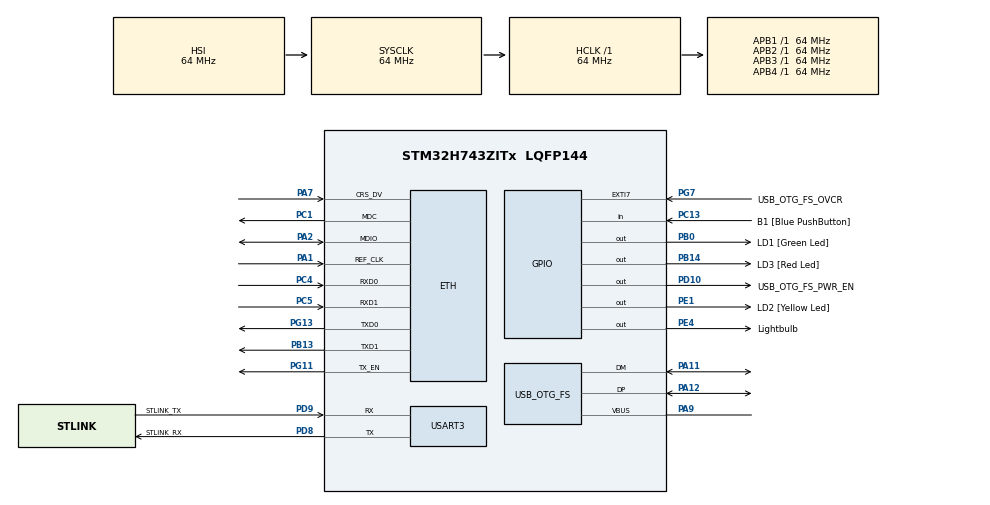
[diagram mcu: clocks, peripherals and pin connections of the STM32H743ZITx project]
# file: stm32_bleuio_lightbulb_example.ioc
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ETH.MediaInterface=HAL_ETH_RMII_MODE
Mcu.Family=STM32H7
Mcu.Name=STM32H743ZITx
Mcu.Package=LQFP144
NVIC.OTG_FS_EP1_IN_IRQn=true\:0\:0\:false\:false\:true\:true\:true
NVIC.OTG_FS_EP1_OUT_IRQn=true\:0\:0\:false\:false\:true\:true\:true
NVIC.OTG_FS_IRQn=true\:0\:0\:false\:false\:true\:true\:true
NVIC.PriorityGroup=NVIC_PRIORITYGROUP_4
NVIC.USART3_IRQn=true\:0\:0\:false\:false\:true\:true\:true
PA1.Mode=RMII
PA1.Signal=ETH_REF_CLK
PA11.Mode=Host_Only
PA11.Signal=USB_OTG_FS_DM
PA12.Mode=Host_Only
PA12.Signal=USB_OTG_FS_DP
PA2.Mode=RMII
PA2.Signal=ETH_MDIO
PA7.Mode=RMII
PA7.Signal=ETH_CRS_DV
PA8.Signal=USB_OTG_FS_SOF
PA9.Mode=Activate_VBUS
PA9.Signal=USB_OTG_FS_VBUS
PB0.GPIO_Label=LD1 [Green Led]
PB0.Signal=GPIO_Output
PB13.Mode=RMII
PB13.Signal=ETH_TXD1
PB14.GPIO_Label=LD3 [Red Led]
PB14.Signal=GPIO_Output
PC1.Mode=RMII
PC1.Signal=ETH_MDC
PC13.GPIO_Label=B1 [Blue PushButton]
PC13.Signal=GPIO_Input
PC14-OSC32_IN\ (OSC32_IN).Mode=LSE-External-Oscillator
PC14-OSC32_IN\ (OSC32_IN).Signal=RCC_OSC32_IN
PC15-OSC32_OUT\ (OSC32_OUT).Mode=LSE-External-Oscillator
PC15-OSC32_OUT\ (OSC32_OUT).Signal=RCC_OSC32_OUT
PC4.Mode=RMII
PC4.Signal=ETH_RXD0
PC5.Mode=RMII
PC5.Signal=ETH_RXD1
PD10.GPIO_Label=USB_OTG_FS_PWR_EN
PD10.Signal=GPIO_Output
PD8.GPIO_Label=STLINK_RX
PD8.Mode=Asynchronous
PD8.Signal=USART3_TX
PD9.GPIO_Label=STLINK_TX
PD9.Mode=Asynchronous
PD9.Signal=USART3_RX
PE1.GPIO_Label=LD2 [Yellow Led]
PE1.Signal=GPIO_Output
PE4.GPIO_Label=Lightbulb
PE4.Signal=GPIO_Output
PG11.Mode=RMII
PG11.Signal=ETH_TX_EN
PG13.Mode=RMII
PG13.Signal=ETH_TXD0
PG7.GPIO_Label=USB_OTG_FS_OVCR
PG7.Signal=GPXTI7
PH0-OSC_IN\ (PH0).Mode=HSE-External-Clock-Source
PH0-OSC_IN\ (PH0).Signal=RCC_OSC_IN
PH1-OSC_OUT\ (PH1).Signal=RCC_OSC_OUT
ProjectManager.HeapSize=0x200
ProjectManager.StackSize=0x400
ProjectManager.TargetToolchain=STM32CubeIDE
RCC.ADCFreq_Value=16125000
RCC.APB1Freq_Value=64000000
RCC.APB2Freq_Value=64000000
RCC.APB3Freq_Value=64000000
RCC.APB4Freq_Value=64000000
RCC.CortexFreq_Value=64000000
RCC.DIVM1=1
RCC.DIVN1=24
RCC.DIVQ1=4
RCC.HCLKFreq_Value=64000000
RCC.HSE_VALUE=8000000
RCC.PLLFRACN=0
RCC.PWR_Regulator_Voltage_Scale=PWR_REGULATOR_VOLTAGE_SCALE2
RCC.SYSCLKFreq_VALUE=64000000
RCC.USBFreq_Value=48000000
USART3.VirtualMode-Asynchronous=VM_ASYNC
USB_HOST.BSP.number=1
USB_HOST.USBH_HandleTypeDef-CDC_FS=hUsbHostFS
USB_HOST.VirtualModeFS=Cdc
USB_HOST0.BSP.STBoard=false
USB_HOST0.BSP.api=Unknown
USB_HOST0.BSP.i2caddr=0
USB_HOST0.BSP.instance=PD10
USB_HOST0.BSP.ip=GPIO
USB_HOST0.BSP.mode=Output
USB_HOST0.BSP.name=Drive_VBUS_FS
USB_HOST0.BSP.solution=PD10
USB_OTG_FS.VirtualMode=Host_Only
USB_OTG_FS.phy_itface=HCD_PHY_EMBEDDED
VP_USB_HOST_VS_USB_HOST_CDC_FS.Mode=CDC_FS
board=NUCLEO-H743ZI2

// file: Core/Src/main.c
/* USER CODE BEGIN Header */
/**
  ******************************************************************************
  * @file           : main.c
  * @brief          : Main program body
  ******************************************************************************
  * @attention
  *
  * <h2><center>&copy; Copyright (c) 2021 STMicroelectronics.
  * All rights reserved.</center></h2>
  *
  * This software component is licensed by ST under BSD 3-Clause license,
  * the "License"; You may not use this file except in compliance with the
  * License. You may obtain a copy of the License at:
  *                        opensource.org/licenses/BSD-3-Clause
  *
  ******************************************************************************
  */
/* USER CODE END Header */
#include "main.h"
#include "string.h"
#include "usb_host.h"

/* USER CODE BEGIN PTD */
typedef enum {
  UART_RX_0 = 48,
  UART_RX_1,
  UART_RX_2,
  UART_RX_NONE = 0xFF,
}UARTCommandTypeDef;
/* USER CODE END PTD */

/* USER CODE BEGIN PD */
#define RXBUFFERSIZE                     1

#define BLEUIO_NOT_READY_MSG	"\r\nBleuIO not ready yet.\r\n"

// Dongle commands
#define DONGLE_CMD_ATI "ATI\r\n"
#define DONGLE_CMD_AT_ADVSTART "AT+ADVSTART\r\n"
#define DONGLE_CMD_AT_ADVSTOP "AT+ADVSTOP\r\n"
#define DONGLE_SEND_LIGHT_ON "AT+SPSSEND=LIGHT ON\r\n"
#define DONGLE_SEND_LIGHT_OFF "AT+SPSSEND=LIGHT OFF\r\n"
/* USER CODE END PD */

#if defined ( __ICCARM__ ) /*!< IAR Compiler */

#pragma location=0x30040000
ETH_DMADescTypeDef  DMARxDscrTab[ETH_RX_DESC_CNT]; /* Ethernet Rx DMA Descriptors */
#pragma location=0x30040060
ETH_DMADescTypeDef  DMATxDscrTab[ETH_TX_DESC_CNT]; /* Ethernet Tx DMA Descriptors */
#pragma location=0x30040200
uint8_t Rx_Buff[ETH_RX_DESC_CNT][ETH_MAX_PACKET_SIZE]; /* Ethernet Receive Buffers */

#elif defined ( __CC_ARM )  /* MDK ARM Compiler */

__attribute__((at(0x30040000))) ETH_DMADescTypeDef  DMARxDscrTab[ETH_RX_DESC_CNT]; /* Ethernet Rx DMA Descriptors */
__attribute__((at(0x30040060))) ETH_DMADescTypeDef  DMATxDscrTab[ETH_TX_DESC_CNT]; /* Ethernet Tx DMA Descriptors */
__attribute__((at(0x30040200))) uint8_t Rx_Buff[ETH_RX_DESC_CNT][ETH_MAX_PACKET_SIZE]; /* Ethernet Receive Buffer */

#elif defined ( __GNUC__ ) /* GNU Compiler */

ETH_DMADescTypeDef DMARxDscrTab[ETH_RX_DESC_CNT] __attribute__((section(".RxDecripSection"))); /* Ethernet Rx DMA Descriptors */
ETH_DMADescTypeDef DMATxDscrTab[ETH_TX_DESC_CNT] __attribute__((section(".TxDecripSection")));   /* Ethernet Tx DMA Descriptors */
uint8_t Rx_Buff[ETH_RX_DESC_CNT][ETH_MAX_PACKET_SIZE] __attribute__((section(".RxArraySection"))); /* Ethernet Receive Buffers */

#endif

ETH_TxPacketConfig TxConfig;

ETH_HandleTypeDef heth;

UART_HandleTypeDef huart3;

/* USER CODE BEGIN PV */
static char uart_tx_buf[250];
int uart_buf_len;
bool isBleuIOReady;
uint8_t dongle_response[244];
static UARTCommandTypeDef uartStatus;
static uint8_t aRxBuffer[RXBUFFERSIZE];
static int RX_value;

bool isAdvertising;
bool isLightBulbOn;
bool isConnected;
/* USER CODE END PV */

void SystemClock_Config(void);
static void MX_GPIO_Init(void);
static void MX_ETH_Init(void);
static void MX_USART3_UART_Init(void);
void MX_USB_HOST_Process(void);

/* USER CODE BEGIN PFP */
void handleUartInput(UARTCommandTypeDef cmd);
void dongle_interpreter(uint8_t * input);
/* USER CODE END PFP */

int main(void)
{

  /* MCU Configuration--------------------------------------------------------*/

  /* Reset of all peripherals, Initializes the Flash interface and the Systick. */
  HAL_Init();

  /* Configure the system clock */
  SystemClock_Config();

  /* Initialize all configured peripherals */
  MX_GPIO_Init();
  MX_ETH_Init();
  MX_USART3_UART_Init();
  MX_USB_HOST_Init();
  /* USER CODE BEGIN 2 */
  isBleuIOReady = false;
  isAdvertising= false;
  isLightBulbOn= false;
  isConnected= false;
  uartStatus = UART_RX_NONE;

  // Starts uart recieve interrupt mode
  HAL_UART_Receive_IT(&huart3, (uint8_t *)aRxBuffer, RXBUFFERSIZE);

  // Turn Light bulb pin low (off)
  HAL_GPIO_WritePin(Lightbulb_GPIO_Port, Lightbulb_Pin, GPIO_PIN_RESET);

  // Turns on all LEDs on start up
  HAL_GPIO_WritePin(GPIOB, GPIO_PIN_0, GPIO_PIN_SET);
  HAL_GPIO_WritePin(GPIOE, GPIO_PIN_1, GPIO_PIN_SET);
  HAL_GPIO_WritePin(GPIOB, GPIO_PIN_14, GPIO_PIN_SET);
  HAL_Delay(1000);

  // Turns off all LEDs except Red
  HAL_GPIO_WritePin(GPIOB, GPIO_PIN_0, GPIO_PIN_RESET);
  HAL_GPIO_WritePin(GPIOE, GPIO_PIN_1, GPIO_PIN_RESET);

  // Sends welcome message to uart
  uart_buf_len = sprintf(uart_tx_buf, "\r\nWelcome to STM32 BleuIO Light Bulb Example!\r\nPress 0 to run the ATI command\r\nPress 1 to manually turn on light bulb\r\nPress 2 to manually turn off light bulb\r\n");
  HAL_UART_Transmit(&huart3, (uint8_t *)uart_tx_buf, uart_buf_len, HAL_MAX_DELAY);

  /* USER CODE END 2 */

  /* Infinite loop */
  while (1)
  {
    MX_USB_HOST_Process();

    /* USER CODE BEGIN 3 */
    // Simple handler for uart input
    handleUartInput(uartStatus);
    // Inteprets the dongle data
    dongle_interpreter(dongle_response);

    // Starts advertising as soon as the Dongle is ready.
    if(!isAdvertising && !isConnected && isBleuIOReady)
    {
    	HAL_Delay(200);
    	writeToDongle((uint8_t*)DONGLE_CMD_AT_ADVSTART);
    	isAdvertising = true;
    }
  }
  /* USER CODE END 3 */
}

void SystemClock_Config(void)
{
  RCC_OscInitTypeDef RCC_OscInitStruct = {0};
  RCC_ClkInitTypeDef RCC_ClkInitStruct = {0};

  /** Supply configuration update enable
  */
  HAL_PWREx_ConfigSupply(PWR_LDO_SUPPLY);
  /** Configure the main internal regulator output voltage
  */
  __HAL_PWR_VOLTAGESCALING_CONFIG(PWR_REGULATOR_VOLTAGE_SCALE2);

  while(!__HAL_PWR_GET_FLAG(PWR_FLAG_VOSRDY)) {}
  /** Initializes the RCC Oscillators according to the specified parameters
  * in the RCC_OscInitTypeDef structure.
  */
  RCC_OscInitStruct.OscillatorType = RCC_OSCILLATORTYPE_HSI|RCC_OSCILLATORTYPE_HSE;
  RCC_OscInitStruct.HSEState = RCC_HSE_BYPASS;
  RCC_OscInitStruct.HSIState = RCC_HSI_DIV1;
  RCC_OscInitStruct.HSICalibrationValue = RCC_HSICALIBRATION_DEFAULT;
  RCC_OscInitStruct.PLL.PLLState = RCC_PLL_ON;
  RCC_OscInitStruct.PLL.PLLSource = RCC_PLLSOURCE_HSE;
  RCC_OscInitStruct.PLL.PLLM = 1;
  RCC_OscInitStruct.PLL.PLLN = 24;
  RCC_OscInitStruct.PLL.PLLP = 2;
  RCC_OscInitStruct.PLL.PLLQ = 4;
  RCC_OscInitStruct.PLL.PLLR = 2;
  RCC_OscInitStruct.PLL.PLLRGE = RCC_PLL1VCIRANGE_3;
  RCC_OscInitStruct.PLL.PLLVCOSEL = RCC_PLL1VCOWIDE;
  RCC_OscInitStruct.PLL.PLLFRACN = 0;
  if (HAL_RCC_OscConfig(&RCC_OscInitStruct) != HAL_OK)
  {
    Error_Handler();
  }
  /** Initializes the CPU, AHB and APB buses clocks
  */
  RCC_ClkInitStruct.ClockType = RCC_CLOCKTYPE_HCLK|RCC_CLOCKTYPE_SYSCLK
                              |RCC_CLOCKTYPE_PCLK1|RCC_CLOCKTYPE_PCLK2
                              |RCC_CLOCKTYPE_D3PCLK1|RCC_CLOCKTYPE_D1PCLK1;
  RCC_ClkInitStruct.SYSCLKSource = RCC_SYSCLKSOURCE_HSI;
  RCC_ClkInitStruct.SYSCLKDivider = RCC_SYSCLK_DIV1;
  RCC_ClkInitStruct.AHBCLKDivider = RCC_HCLK_DIV1;
  RCC_ClkInitStruct.APB3CLKDivider = RCC_APB3_DIV1;
  RCC_ClkInitStruct.APB1CLKDivider = RCC_APB1_DIV1;
  RCC_ClkInitStruct.APB2CLKDivider = RCC_APB2_DIV1;
  RCC_ClkInitStruct.APB4CLKDivider = RCC_APB4_DIV1;

  if (HAL_RCC_ClockConfig(&RCC_ClkInitStruct, FLASH_LATENCY_1) != HAL_OK)
  {
    Error_Handler();
  }
}

static void MX_ETH_Init(void)
{

   static uint8_t MACAddr[6];

  heth.Instance = ETH;
  MACAddr[0] = 0x00;
  MACAddr[1] = 0x80;
  MACAddr[2] = 0xE1;
  MACAddr[3] = 0x00;
  MACAddr[4] = 0x00;
  MACAddr[5] = 0x00;
  heth.Init.MACAddr = &MACAddr[0];
  heth.Init.MediaInterface = HAL_ETH_RMII_MODE;
  heth.Init.TxDesc = DMATxDscrTab;
  heth.Init.RxDesc = DMARxDscrTab;
  heth.Init.RxBuffLen = 1524;

  if (HAL_ETH_Init(&heth) != HAL_OK)
  {
    Error_Handler();
  }

  memset(&TxConfig, 0 , sizeof(ETH_TxPacketConfig));
  TxConfig.Attributes = ETH_TX_PACKETS_FEATURES_CSUM | ETH_TX_PACKETS_FEATURES_CRCPAD;
  TxConfig.ChecksumCtrl = ETH_CHECKSUM_IPHDR_PAYLOAD_INSERT_PHDR_CALC;
  TxConfig.CRCPadCtrl = ETH_CRC_PAD_INSERT;

}

static void MX_USART3_UART_Init(void)
{

  huart3.Instance = USART3;
  huart3.Init.BaudRate = 115200;
  huart3.Init.WordLength = UART_WORDLENGTH_8B;
  huart3.Init.StopBits = UART_STOPBITS_1;
  huart3.Init.Parity = UART_PARITY_NONE;
  huart3.Init.Mode = UART_MODE_TX_RX;
  huart3.Init.HwFlowCtl = UART_HWCONTROL_NONE;
  huart3.Init.OverSampling = UART_OVERSAMPLING_16;
  huart3.Init.OneBitSampling = UART_ONE_BIT_SAMPLE_DISABLE;
  huart3.Init.ClockPrescaler = UART_PRESCALER_DIV1;
  huart3.AdvancedInit.AdvFeatureInit = UART_ADVFEATURE_NO_INIT;
  if (HAL_UART_Init(&huart3) != HAL_OK)
  {
    Error_Handler();
  }
  if (HAL_UARTEx_SetTxFifoThreshold(&huart3, UART_TXFIFO_THRESHOLD_1_8) != HAL_OK)
  {
    Error_Handler();
  }
  if (HAL_UARTEx_SetRxFifoThreshold(&huart3, UART_RXFIFO_THRESHOLD_1_8) != HAL_OK)
  {
    Error_Handler();
  }
  if (HAL_UARTEx_DisableFifoMode(&huart3) != HAL_OK)
  {
    Error_Handler();
  }

}

static void MX_GPIO_Init(void)
{
  GPIO_InitTypeDef GPIO_InitStruct = {0};

  /* GPIO Ports Clock Enable */
  __HAL_RCC_GPIOE_CLK_ENABLE();
  __HAL_RCC_GPIOC_CLK_ENABLE();
  __HAL_RCC_GPIOH_CLK_ENABLE();
  __HAL_RCC_GPIOA_CLK_ENABLE();
  __HAL_RCC_GPIOB_CLK_ENABLE();
  __HAL_RCC_GPIOD_CLK_ENABLE();
  __HAL_RCC_GPIOG_CLK_ENABLE();

  /*Configure GPIO pin Output Level */
  HAL_GPIO_WritePin(GPIOE, Lightbulb_Pin|LD2_Pin, GPIO_PIN_RESET);

  /*Configure GPIO pin Output Level */
  HAL_GPIO_WritePin(GPIOB, LD1_Pin|LD3_Pin, GPIO_PIN_RESET);

  /*Configure GPIO pin Output Level */
  HAL_GPIO_WritePin(USB_OTG_FS_PWR_EN_GPIO_Port, USB_OTG_FS_PWR_EN_Pin, GPIO_PIN_RESET);

  /*Configure GPIO pins : Lightbulb_Pin LD2_Pin */
  GPIO_InitStruct.Pin = Lightbulb_Pin|LD2_Pin;
  GPIO_InitStruct.Mode = GPIO_MODE_OUTPUT_PP;
  GPIO_InitStruct.Pull = GPIO_NOPULL;
  GPIO_InitStruct.Speed = GPIO_SPEED_FREQ_LOW;
  HAL_GPIO_Init(GPIOE, &GPIO_InitStruct);

  /*Configure GPIO pin : B1_Pin */
  GPIO_InitStruct.Pin = B1_Pin;
  GPIO_InitStruct.Mode = GPIO_MODE_INPUT;
  GPIO_InitStruct.Pull = GPIO_NOPULL;
  HAL_GPIO_Init(B1_GPIO_Port, &GPIO_InitStruct);

  /*Configure GPIO pins : LD1_Pin LD3_Pin */
  GPIO_InitStruct.Pin = LD1_Pin|LD3_Pin;
  GPIO_InitStruct.Mode = GPIO_MODE_OUTPUT_PP;
  GPIO_InitStruct.Pull = GPIO_NOPULL;
  GPIO_InitStruct.Speed = GPIO_SPEED_FREQ_LOW;
  HAL_GPIO_Init(GPIOB, &GPIO_InitStruct);

  /*Configure GPIO pin : USB_OTG_FS_PWR_EN_Pin */
  GPIO_InitStruct.Pin = USB_OTG_FS_PWR_EN_Pin;
  GPIO_InitStruct.Mode = GPIO_MODE_OUTPUT_PP;
  GPIO_InitStruct.Pull = GPIO_NOPULL;
  GPIO_InitStruct.Speed = GPIO_SPEED_FREQ_LOW;
  HAL_GPIO_Init(USB_OTG_FS_PWR_EN_GPIO_Port, &GPIO_InitStruct);

  /*Configure GPIO pin : USB_OTG_FS_OVCR_Pin */
  GPIO_InitStruct.Pin = USB_OTG_FS_OVCR_Pin;
  GPIO_InitStruct.Mode = GPIO_MODE_IT_RISING;
  GPIO_InitStruct.Pull = GPIO_NOPULL;
  HAL_GPIO_Init(USB_OTG_FS_OVCR_GPIO_Port, &GPIO_InitStruct);

}

/* USER CODE BEGIN 4 */
void HAL_UART_RxCpltCallback(UART_HandleTypeDef *UartHandle)
{
	if(UartHandle == &huart3)
	{
		RX_value = (int)aRxBuffer[0];
		uartStatus = UART_RX_NONE;

		switch(RX_value)
		{
			case UART_RX_0:
			{
				uartStatus = UART_RX_0;
				break;
			}
			case UART_RX_1:
			{
				uartStatus = UART_RX_1;
				break;
			}
			case UART_RX_2:
			{
				uartStatus = UART_RX_2;
				break;
			}
			default:
			{
				uartStatus = UART_RX_NONE;
				break;
			}
		}
		// Resets uart recieve interrupt mode
		HAL_UART_Receive_IT(&huart3, (uint8_t *)aRxBuffer, RXBUFFERSIZE);
	}
}

/**
  * @brief Simple uart input handler
  * @retval None
  */
void handleUartInput(UARTCommandTypeDef cmd)
{
	switch(cmd)
	{
		case UART_RX_0:
		{
			// 0
			uart_buf_len = sprintf(uart_tx_buf, "\r\n(0 pressed)\r\n");
			HAL_UART_Transmit(&huart3, (uint8_t *)uart_tx_buf, uart_buf_len, HAL_MAX_DELAY);
			if(isBleuIOReady)
			{
				writeToDongle((uint8_t*)DONGLE_CMD_ATI);
			} else
			{
				uart_buf_len = sprintf(uart_tx_buf, BLEUIO_NOT_READY_MSG);
				HAL_UART_Transmit(&huart3, (uint8_t *)uart_tx_buf, uart_buf_len, HAL_MAX_DELAY);
			}
			uartStatus = UART_RX_NONE;
			break;
		}
		case UART_RX_1:
		{
			// 1
			uart_buf_len = sprintf(uart_tx_buf, "\r\n(1 pressed light bulb on!)\r\n");
			HAL_UART_Transmit(&huart3, (uint8_t *)uart_tx_buf, uart_buf_len, HAL_MAX_DELAY);
			HAL_GPIO_WritePin(Lightbulb_GPIO_Port, Lightbulb_Pin, GPIO_PIN_SET);
			uartStatus = UART_RX_NONE;
			break;
		}
		case UART_RX_2:
		{
			// 2
			uart_buf_len = sprintf(uart_tx_buf, "\r\n(2 pressed light bulb off!)\r\n");
			HAL_UART_Transmit(&huart3, (uint8_t *)uart_tx_buf, uart_buf_len, HAL_MAX_DELAY);
			HAL_GPIO_WritePin(Lightbulb_GPIO_Port, Lightbulb_Pin, GPIO_PIN_RESET);

			uartStatus = UART_RX_NONE;
			break;
		}
		case UART_RX_NONE:
		{
			break;
		}
		default:
		{
			uartStatus = UART_RX_NONE;
			break;
		}
	}
}

/**
  * @brief Simple dongle interpreter
  * @retval None
  */
void dongle_interpreter(uint8_t * input)
{

	if(strlen((char *)input) != 0)
	{
		if(strstr((char *)input, "\r\nADVERTISING...") != NULL)
		{
			isAdvertising = true;
		}
		if(strstr((char *)input, "\r\nADVERTISING STOPPED.") != NULL)
		{
			isAdvertising = false;
		}
		if(strstr((char *)input, "\r\nCONNECTED") != NULL)
		{
			isConnected = true;
			HAL_GPIO_WritePin(GPIOE, GPIO_PIN_1, GPIO_PIN_SET);
		}
		if(strstr((char *)input, "\r\nDISCONNECTED") != NULL)
		{
			isConnected = false;
			HAL_GPIO_WritePin(GPIOE, GPIO_PIN_1, GPIO_PIN_RESET);
		}
		if(strstr((char *)input, "L=0") != NULL)
		{
			isLightBulbOn = false;
			HAL_GPIO_WritePin(Lightbulb_GPIO_Port, Lightbulb_Pin, GPIO_PIN_RESET);

			writeToDongle((uint8_t*)DONGLE_SEND_LIGHT_OFF);

			uart_buf_len = sprintf(uart_tx_buf, "\r\nLight bulb is %s\r\n", isLightBulbOn ? "on":"off");
			HAL_UART_Transmit(&huart3, (uint8_t *)uart_tx_buf, uart_buf_len, HAL_MAX_DELAY);
		}
		if(strstr((char *)input, "L=1") != NULL)
		{
			isLightBulbOn = true;
			HAL_GPIO_WritePin(Lightbulb_GPIO_Port, Lightbulb_Pin, GPIO_PIN_SET);

			writeToDongle((uint8_t*)DONGLE_SEND_LIGHT_ON);

			uart_buf_len = sprintf(uart_tx_buf, "\r\nLight bulb is %s\r\n", isLightBulbOn ? "on":"off");
			HAL_UART_Transmit(&huart3, (uint8_t *)uart_tx_buf, uart_buf_len, HAL_MAX_DELAY);
		}
	}
	memset(&dongle_response, 0, RSP_SIZE);
}
/* USER CODE END 4 */

void Error_Handler(void)
{
  __disable_irq();
  while (1)
  {
  }
}

/************************ (C) COPYRIGHT STMicroelectronics *****END OF FILE****/
